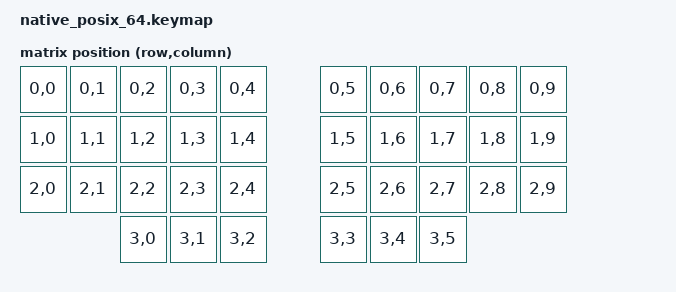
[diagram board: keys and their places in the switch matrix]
#include <dt-bindings/zmk/matrix_transform.h>
#include <dt-bindings/zmk/kscan_mock.h>

/ {
    chosen {
        zmk,matrix-transform = &transform;
    };

    /* op36 position N is RC(N/10, N%10); thumbs 30..35 are row 3. */
    transform: keymap_transform {
        compatible = "zmk,matrix-transform";
        columns = <10>;
        rows = <4>;
        map = <
            RC(0,0) RC(0,1) RC(0,2) RC(0,3) RC(0,4) RC(0,5) RC(0,6) RC(0,7) RC(0,8) RC(0,9)
            RC(1,0) RC(1,1) RC(1,2) RC(1,3) RC(1,4) RC(1,5) RC(1,6) RC(1,7) RC(1,8) RC(1,9)
            RC(2,0) RC(2,1) RC(2,2) RC(2,3) RC(2,4) RC(2,5) RC(2,6) RC(2,7) RC(2,8) RC(2,9)
            RC(3,0) RC(3,1) RC(3,2) RC(3,3) RC(3,4) RC(3,5)
        >;
    };
};&kscan {
    rows = <4>;
    columns = <10>;
    events = <
        /* lead-in so require-prior-idle-ms sees real idle time */
        ZMK_MOCK_PRESS(0,1,10)
        ZMK_MOCK_RELEASE(0,1,400)

        /* cmbru, a tap on thumbs 31+34, leaves en for ru. Position 2 is a Hyper
           hold-tap on both layers, so this also re-checks that nothing
           competes for it. */
        ZMK_MOCK_PRESS(3,1,5)
        ZMK_MOCK_PRESS(3,4,20)
        ZMK_MOCK_RELEASE(3,1,10)
        ZMK_MOCK_RELEASE(3,4,300)

        /* Hold у (pos 2) past the term and chord р (pos 15, opposite hand). */
        ZMK_MOCK_PRESS(0,2,350)
        ZMK_MOCK_PRESS(1,5,30)
        ZMK_MOCK_RELEASE(1,5,30)
        ZMK_MOCK_RELEASE(0,2,300)

        /* Tapped, it is still у. */
        ZMK_MOCK_PRESS(0,2,50)
        ZMK_MOCK_RELEASE(0,2,300)

        /* Hold ш (pos 7) and chord п (pos 14) the other way round. Positions
           6+7 and 7+8 used to carry the kha/hrdsgn combos; they are gone, so
           nothing competes for this key any more. */
        ZMK_MOCK_PRESS(0,7,350)
        ZMK_MOCK_PRESS(1,4,30)
        ZMK_MOCK_RELEASE(1,4,30)
        ZMK_MOCK_RELEASE(0,7,300)

        /* cmben takes it back to en. */
        ZMK_MOCK_PRESS(3,1,5)
        ZMK_MOCK_PRESS(3,4,20)
        ZMK_MOCK_RELEASE(3,1,10)
        ZMK_MOCK_RELEASE(3,4,200)
    >;
};

#include "/cfg/op36_ruen.keymap"
